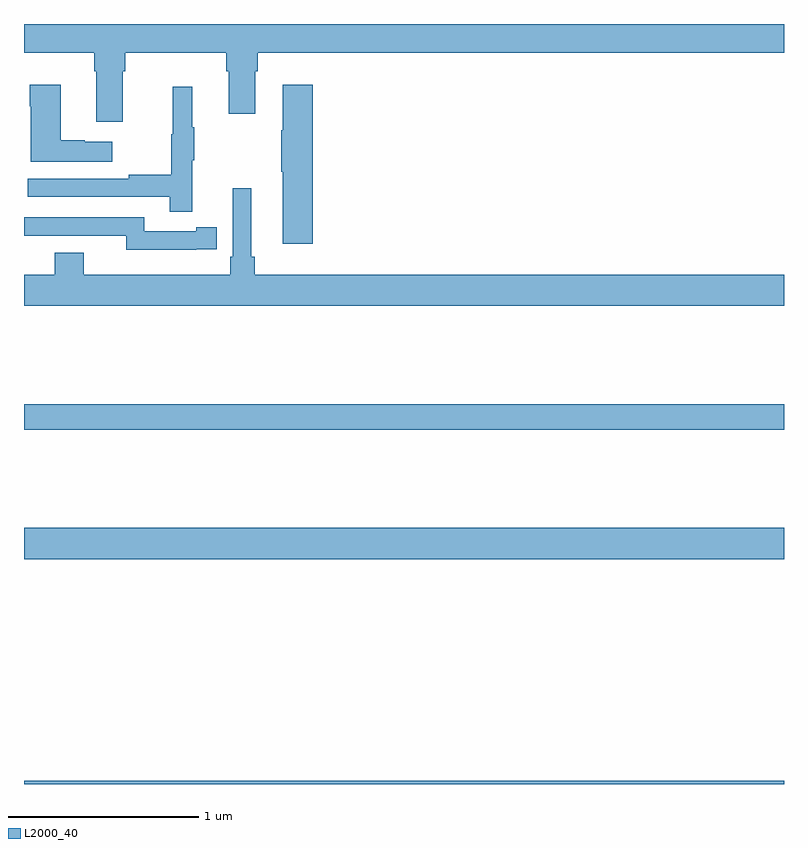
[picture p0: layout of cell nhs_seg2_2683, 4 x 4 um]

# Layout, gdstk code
import gdstk
lib = gdstk.Library(unit=1e-6, precision=1e-09)
def R(c, l, rs):  # rectangles x0, y0, x1, y1
    for r in rs: c.add(gdstk.rectangle(r[:2], r[2:], *l))
def P(c, l, *ps):  # polygons
    for p in ps: c.add(gdstk.Polygon(p, *l))
L2000_40 = (2000, 40)

nhs_seg2_2683 = lib.new_cell('nhs_seg2_2683')
R(nhs_seg2_2683, L2000_40, [(251,631.8,255,631.816), (251,632.984,255,633.148), (251,633.664,255,633.8)])
P(nhs_seg2_2683, L2000_40, [(251.521,635.552),(251.534,635.552),(251.534,635.648),(252.065,635.648),(252.065,635.552),(252.077,635.552),(252.077,635.328),(252.217,635.328),(252.217,635.552),(252.23,635.552),(252.23,635.648),(255,635.648),(255,635.8),(251,635.8),(251,635.648),(251.369,635.648),(251.369,635.552),(251.381,635.552),(251.381,635.286),(251.521,635.286)],
  [(251.464,635.179),(251.321,635.179),(251.321,635.189),(251.194,635.189),(251.194,635.479),(251.029,635.479),(251.029,635.366),(251.036,635.366),(251.036,635.075),(251.464,635.075)],
  [(252.521,635.479),(252.362,635.479),(252.362,635.24),(252.355,635.24),(252.355,635.023),(252.362,635.023),(252.362,634.644),(252.521,634.644)],
  [(251.885,635.083),(251.896,635.083),(251.896,635.257),(251.885,635.257),(251.885,635.47),(251.782,635.47),(251.782,635.22),(251.775,635.22),(251.775,635.006),(251.551,635.006),(251.551,634.986),(251.019,634.986),(251.019,634.89),(251.767,634.89),(251.767,634.812),(251.885,634.812)],
  [(255,634.48),(252.215,634.48),(252.215,634.576),(252.196,634.576),(252.196,634.936),(252.099,634.936),(252.099,634.576),(252.086,634.576),(252.086,634.48),(251.314,634.48),(251.314,634.597),(251.162,634.597),(251.162,634.48),(251,634.48),(251,634.316),(255,634.316)],
  [(251.906,634.614),(252.014,634.614),(252.014,634.73),(251.906,634.73),(251.906,634.71),(251.634,634.71),(251.634,634.782),(251,634.782),(251,634.685),(251.078,634.685),(251.078,634.686),(251.538,634.686),(251.538,634.613),(251.906,634.613)])

lib.write_gds('nhs_seg2_2683.gds')
